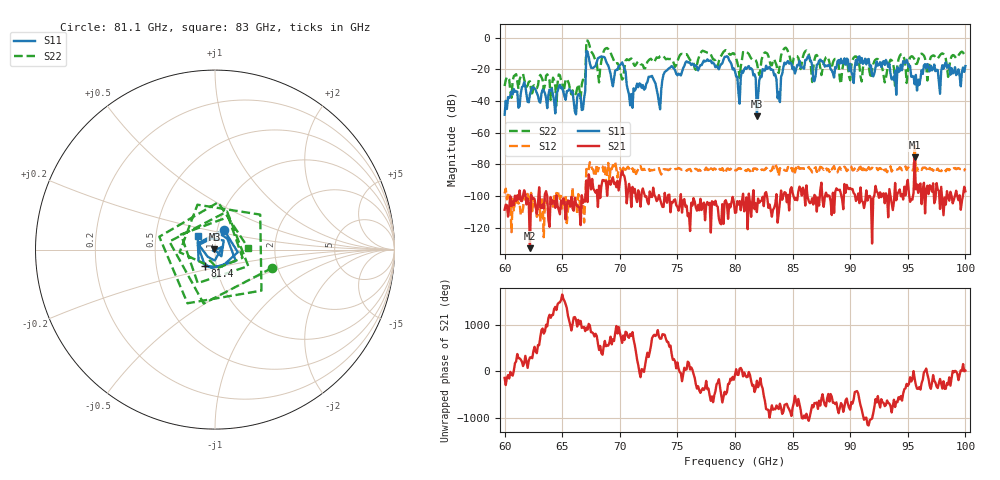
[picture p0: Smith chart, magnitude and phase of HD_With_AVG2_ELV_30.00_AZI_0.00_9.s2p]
! 11/25/2026 10:14:09 AM
! C:\ANRITSUVNA\TEMP\TEMP.S2P
! CHANNEL.1
! TR.MEASUREMENT
! RAW.DATA
# HZ S RI R 50.0
! FREQ.HZ  S11RE  S11IM  S21RE  S21IM  S12RE  S12IM  S22RE  S22IM
!; PortSelection: Port_12
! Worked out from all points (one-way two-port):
!   401 points, 60 GHz to 100 GHz, reference 50 ohm
!   highest |S21| = -75.41 dB at 95.6 GHz (marker M1); lowest = -133.0 dB at 62.2 GHz (marker M2)
!   lowest |S11| = -49.6 dB at 81.9 GHz (marker M3), VSWR 1.01, Z = 49.7 + j0.058 ohm
!   |S11| at or under -10 dB: start of sweep to 67.09 GHz; 67.23 GHz to end of sweep
!   |S22| runs from -42.8 to -1.7 dB; largest |S21 - S12| = 0.00052
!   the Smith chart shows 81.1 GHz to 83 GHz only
!   S11 on the Smith chart (normalised r, x): 81.1 GHz: 1.08, +0.24; 81.4 GHz: 0.88, -0.17; 83 GHz: 0.82, +0.12
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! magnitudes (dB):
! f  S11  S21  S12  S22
! 60 GHz  -48.6  -108.7  -98.4  -30.5
! 62.2 GHz  -35.6  -133.0  -104.0  -27.6
! 66.7 GHz  -45.7  -99.5  -100.6  -29.5
! 67.3 GHz  -12.1  -86.3  -82.9  -3.2
! 68.4 GHz  -11.8  -93.8  -81.0  -14.7
! 68.9 GHz  -16.4  -99.8  -85.7  -6.5
! 70.3 GHz  -17.5  -86.5  -82.1  -25.5
! 70.9 GHz  -42.7  -95.8  -82.1  -13.5
! 72.7 GHz  -24.4  -100.3  -83.5  -13.3
! 73.4 GHz  -41.2  -99.4  -82.4  -12.6
! 74.4 GHz  -18.6  -110.3  -82.9  -13.4
! 80 GHz  -21.2  -110.6  -83.6  -11.1
! 81.1 GHz  -18.4  -121.0  -83.1  -9.5
! 81.4 GHz  -19.3  -113.2  -83.6  -13.0
! 81.9 GHz  -49.6  -110.2  -83.4  -15.9
! 83 GHz  -18.3  -105.4  -84.5  -14.6
! 83.8 GHz  -34.3  -110.7  -87.4  -22.3
! 84.4 GHz  -16.7  -98.0  -84.0  -6.2
! 86.7 GHz  -17.5  -101.4  -85.1  -28.0
! 93.4 GHz  -16.3  -95.6  -82.8  -15.6
! 95.6 GHz  -29.4  -75.4  -68.2  -13.7
! 100 GHz  -17.9  -97.0  -82.6  -12.1
